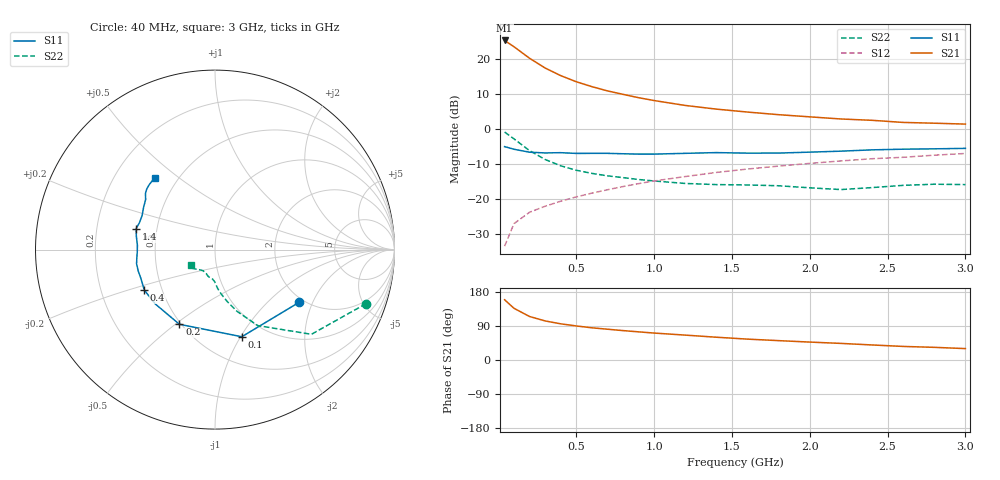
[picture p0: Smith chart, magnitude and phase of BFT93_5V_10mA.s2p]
! Filename:  BFT93B.S2P  Version:  2.0
! Philips part #: BFT93  Date: May 1990
! Bias condition: Vce=-5V, Ic=-10mA
#  MHz  S  MA  R  50
! Freq  S11  S21  S12  S22  !GUM [dB]
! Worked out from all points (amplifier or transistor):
!   21 points, 40 MHz to 3 GHz, reference 50 ohm
!   highest |S21| = 25.2 dB at 40 MHz (marker M1)
!   |S21| within 3 dB of that: start of sweep to 137 MHz
!   unconditionally stable (mu >= 1): 770.8 MHz to 2.318 GHz
!   at 300 MHz: K = 0.73, MSG = 19.7 dB, |S12| = -22.2 dB
!   at 1 GHz: K = 1.04, MAG = 10.2 dB, |S12| = -14.9 dB
!   at 3 GHz: K = 0.95, MSG = 4.2 dB, |S12| = -7.1 dB
!   S11 on the Smith chart (normalised r, x): 40 MHz: 1.89, -1.60; 100 MHz: 0.77, -1.01; 200 MHz: 0.49, -0.52; 400 MHz: 0.40, -0.23; 1.4 GHz: 0.38, +0.11; 3 GHz: 0.37, +0.41
40  0.554 -31.9  18.15 159.0  0.021 76.3  0.894 -19.7
100  0.508 -72.9  14.78 136.5  0.044 62.8  0.715 -41.3
200  0.461 -115.5  10.12 114.8  0.064 55.7  0.486 -60.6
300  0.45 -137.8  7.342 103.1  0.078 55.6  0.363 -70.6
400  0.454 -150.2  5.718 95.5  0.092 57.1  0.295 -77.0
500  0.443 -158.6  4.676 89.9  0.106 58.5  0.255 -81.4
600  0.444 -164.5  3.982 85.0  0.12 59.6  0.23 -84.5
700  0.444 -169.8  3.462 81.3  0.134 60.5  0.212 -86.6
800  0.438 -173.9  3.09 77.6  0.149 61.2  0.2 -87.9
900  0.433 -178.7  2.768 74.3  0.164 61.4  0.188 -89.2
1000  0.433 176.8  2.519 71.1  0.179 61.4  0.179 -90.6
1200  0.444 170.6  2.144 65.7  0.207 61.1  0.165 -94.6
1400  0.455 165.2  1.9 60.1  0.237 60.4  0.159 -99.4
1600  0.447 160.5  1.725 55.1  0.265 59.1  0.157 -101.8
1800  0.448 155.1  1.582 51.1  0.292 58.1  0.153 -104.8
2000  0.462 149.5  1.474 47.3  0.319 56.5  0.143 -109.6
2200  0.477 144.1  1.374 43.8  0.346 55.7  0.135 -119.4
2400  0.498 141.1  1.315 39.7  0.372 53.9  0.144 -129.7
2600  0.509 138.3  1.227 35.8  0.39 52.4  0.155 -136.1
2800  0.515 135.3  1.196 33.4  0.418 50.9  0.161 -139.5
3000  0.523 130.0  1.161 30.1  0.442 49.4  0.159 -146.2
